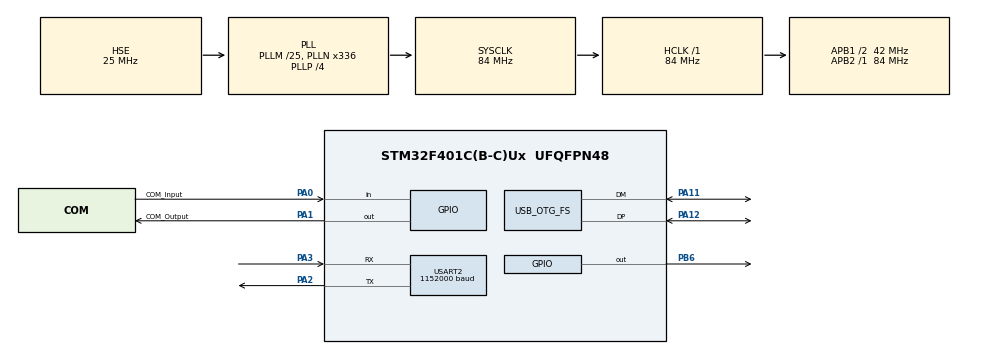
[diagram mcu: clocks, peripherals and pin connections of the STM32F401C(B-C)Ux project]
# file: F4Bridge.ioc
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FATFS._FS_RPATH=2
FATFS._USE_LFN=3
FATFS._USE_MUTEX=1
FATFS._USE_STRFUNC=0
FATFS._VOLUMES=2
FREERTOS.Tasks01=defaultTask,0,256,StartDefaultTask,As weak,NULL,Dynamic,NULL,NULL
FREERTOS.configCHECK_FOR_STACK_OVERFLOW=2
FREERTOS.configMINIMAL_STACK_SIZE=256
FREERTOS.configTOTAL_HEAP_SIZE=32720
FREERTOS.configUSE_MALLOC_FAILED_HOOK=1
Mcu.Family=STM32F4
Mcu.Name=STM32F401C(B-C)Ux
Mcu.Package=UFQFPN48
NVIC.OTG_FS_IRQn=true\:5\:0\:false\:false\:true\:true\:true\:true
NVIC.PriorityGroup=NVIC_PRIORITYGROUP_4
NVIC.TIM1_UP_TIM10_IRQn=true\:0\:0\:false\:false\:true\:false\:false\:true
NVIC.TimeBase=TIM1_UP_TIM10_IRQn
NVIC.TimeBaseIP=TIM1
NVIC.USART2_IRQn=true\:0\:0\:true\:false\:true\:false\:true\:true
PA0-WKUP.GPIO_Label=COM_Input
PA0-WKUP.GPIO_PuPd=GPIO_PULLDOWN
PA0-WKUP.Signal=GPIO_Input
PA1.GPIO_Label=COM_Output
PA1.GPIO_PuPd=GPIO_PULLDOWN
PA1.Signal=GPIO_Output
PA11.Mode=Host_Only
PA11.Signal=USB_OTG_FS_DM
PA12.Mode=Host_Only
PA12.Signal=USB_OTG_FS_DP
PA13.Mode=Trace_Asynchronous_SW
PA13.Signal=SYS_JTMS-SWDIO
PA14.Mode=Trace_Asynchronous_SW
PA14.Signal=SYS_JTCK-SWCLK
PA2.Mode=Asynchronous
PA2.Signal=USART2_TX
PA3.Mode=Asynchronous
PA3.Signal=USART2_RX
PB3.Mode=Trace_Asynchronous_SW
PB3.Signal=SYS_JTDO-SWO
PB6.Signal=GPIO_Output
PH0\ -\ OSC_IN.Mode=HSE-External-Oscillator
PH0\ -\ OSC_IN.Signal=RCC_OSC_IN
PH1\ -\ OSC_OUT.Mode=HSE-External-Oscillator
PH1\ -\ OSC_OUT.Signal=RCC_OSC_OUT
ProjectManager.HeapSize=0xD00
ProjectManager.StackSize=0x400
ProjectManager.TargetToolchain=MDK-ARM V5.27
RCC.48MHZClocksFreq_Value=48000000
RCC.AHBFreq_Value=84000000
RCC.APB1CLKDivider=RCC_HCLK_DIV2
RCC.APB1Freq_Value=42000000
RCC.APB1TimFreq_Value=84000000
RCC.APB2Freq_Value=84000000
RCC.APB2TimFreq_Value=84000000
RCC.CortexFreq_Value=84000000
RCC.HCLKFreq_Value=84000000
RCC.HSE_VALUE=25000000
RCC.HSI_VALUE=16000000
RCC.LSE_VALUE=32768
RCC.PLLM=25
RCC.PLLN=336
RCC.PLLP=RCC_PLLP_DIV4
RCC.PLLQ=7
RCC.SYSCLKFreq_VALUE=84000000
RCC.SYSCLKSource=RCC_SYSCLKSOURCE_PLLCLK
RCC.VCOOutputFreq_Value=336000000
USART2.BaudRate=1152000
USART2.VirtualMode=VM_ASYNC
USB_HOST.BSP.number=1
USB_HOST.USBH_DEBUG_LEVEL=3
USB_HOST.USBH_HandleTypeDef=hUsbHostFS
USB_HOST.USBH_KEEP_CFG_DESCRIPTOR=0
USB_HOST.USBH_PROCESS_STACK_SIZE=1024
USB_HOST.USBH_USE_OS-MSC_FS=0
USB_HOST.VirtualModeFS=Msc
USB_HOST0.BSP.STBoard=false
USB_HOST0.BSP.api=Unknown
USB_HOST0.BSP.i2caddr=0
USB_HOST0.BSP.instance=PB6
USB_HOST0.BSP.ip=GPIO
USB_HOST0.BSP.mode=Output
USB_HOST0.BSP.name=Drive_VBUS_FS
USB_HOST0.BSP.solution=PB6
USB_OTG_FS.Sof_enable=ENABLE
USB_OTG_FS.VirtualMode=Host_Only
USB_OTG_FS.phy_itface=HCD_PHY_EMBEDDED
VP_FATFS_VS_USB.Mode=USB
VP_FREERTOS_VS_CMSIS_V1.Mode=CMSIS_V1
VP_SYS_VS_tim1.Mode=TIM1
VP_USB_HOST_VS_USB_HOST_MSC_FS.Mode=MSC_FS
board=custom

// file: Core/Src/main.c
/* USER CODE BEGIN Header */
/**
  ******************************************************************************
  * @file           : main.c
  * @brief          : Main program body
  ******************************************************************************
  * @attention
  *
  * <h2><center>&copy; Copyright (c) 2021 STMicroelectronics.
  * All rights reserved.</center></h2>
  *
  * This software component is licensed by ST under Ultimate Liberty license
  * SLA0044, the "License"; You may not use this file except in compliance with
  * the License. You may obtain a copy of the License at:
  *                             www.st.com/SLA0044
  *
  ******************************************************************************
  */
/* USER CODE END Header */
#include "main.h"
#include "cmsis_os.h"
#include "fatfs.h"
#include "usart.h"
#include "usb_host.h"
#include "gpio.h"

/* USER CODE BEGIN Includes */
#include "Board.h"
/* USER CODE END Includes */

void SystemClock_Config(void);
void MX_FREERTOS_Init(void);

int main(void)
{

  /* MCU Configuration--------------------------------------------------------*/

  /* Reset of all peripherals, Initializes the Flash interface and the Systick. */
  HAL_Init();

  /* Configure the system clock */
  SystemClock_Config();

  /* USER CODE BEGIN SysInit */
	///!!!!!!!!!!!!!!!!!!!!!
	///!!!!!!!!!!!!!!!!!!!!!
	///!!!!!!!!!!!!!!!!!!!!!
	///!!!!!!!!!!!!!!!!!!!!!
	//пе забыть добавить RCC_OscInitStruct.PLL.PLLR = RCC_PLLP_DIV2;
	//Прерывание от USART установить HAL_NVIC_SetPriority(USART6_IRQn, 0, 0);
	///!!!!!!!!!!!!!!!!!!!!!
	///!!!!!!!!!!!!!!!!!!!!!
	///!!!!!!!!!!!!!!!!!!!!!
	///!!!!!!!!!!!!!!!!!!!!!
  /* USER CODE END SysInit */

  /* Initialize all configured peripherals */
  MX_GPIO_Init();
  MX_USART2_UART_Init();
  MX_FATFS_Init();
  /* USER CODE BEGIN 2 */
	printf("Start\n");
  if(retUSBH != 0)
  {
		Error_Handler();
	}
		Board_Init();
  /* USER CODE END 2 */

  /* Call init function for freertos objects (in freertos.c) */
  MX_FREERTOS_Init();
  /* Start scheduler */
  osKernelStart();

  /* We should never get here as control is now taken by the scheduler */
  /* Infinite loop */
  while (1)
  {

  }
}

void SystemClock_Config(void)
{
  RCC_OscInitTypeDef RCC_OscInitStruct = {0};
  RCC_ClkInitTypeDef RCC_ClkInitStruct = {0};

  /** Configure the main internal regulator output voltage
  */
  __HAL_RCC_PWR_CLK_ENABLE();
  __HAL_PWR_VOLTAGESCALING_CONFIG(PWR_REGULATOR_VOLTAGE_SCALE2);
  /** Initializes the RCC Oscillators according to the specified parameters
  * in the RCC_OscInitTypeDef structure.
  */
  RCC_OscInitStruct.OscillatorType = RCC_OSCILLATORTYPE_HSE;
  RCC_OscInitStruct.HSEState = RCC_HSE_ON;
  RCC_OscInitStruct.PLL.PLLState = RCC_PLL_ON;
  RCC_OscInitStruct.PLL.PLLSource = RCC_PLLSOURCE_HSE;
  RCC_OscInitStruct.PLL.PLLM = 25;
  RCC_OscInitStruct.PLL.PLLN = 336;
  RCC_OscInitStruct.PLL.PLLP = RCC_PLLP_DIV4;
  RCC_OscInitStruct.PLL.PLLQ = 7;
  if (HAL_RCC_OscConfig(&RCC_OscInitStruct) != HAL_OK)
  {
    Error_Handler();
  }
  /** Initializes the CPU, AHB and APB buses clocks
  */
  RCC_ClkInitStruct.ClockType = RCC_CLOCKTYPE_HCLK|RCC_CLOCKTYPE_SYSCLK
                              |RCC_CLOCKTYPE_PCLK1|RCC_CLOCKTYPE_PCLK2;
  RCC_ClkInitStruct.SYSCLKSource = RCC_SYSCLKSOURCE_PLLCLK;
  RCC_ClkInitStruct.AHBCLKDivider = RCC_SYSCLK_DIV1;
  RCC_ClkInitStruct.APB1CLKDivider = RCC_HCLK_DIV2;
  RCC_ClkInitStruct.APB2CLKDivider = RCC_HCLK_DIV1;

  if (HAL_RCC_ClockConfig(&RCC_ClkInitStruct, FLASH_LATENCY_2) != HAL_OK)
  {
    Error_Handler();
  }
}

 /**
  * @brief  Period elapsed callback in non blocking mode
  * @note   This function is called  when TIM1 interrupt took place, inside
  * HAL_TIM_IRQHandler(). It makes a direct call to HAL_IncTick() to increment
  * a global variable "uwTick" used as application time base.
  * @param  htim : TIM handle
  * @retval None
  */
void HAL_TIM_PeriodElapsedCallback(TIM_HandleTypeDef *htim)
{
  if (htim->Instance == TIM1) {
    HAL_IncTick();
  }
}

void Error_Handler(void)
{
  /* USER CODE BEGIN Error_Handler_Debug */
  /* User can add his own implementation to report the HAL error return state */
  //__disable_irq();
	for(;;)
	{
		printf("Error_Handler\n");
		HAL_Delay(1000);
	}
  /* USER CODE END Error_Handler_Debug */
}

#ifdef  USE_FULL_ASSERT
/**
  * @brief  Reports the name of the source file and the source line number
  *         where the assert_param error has occurred.
  * @param  file: pointer to the source file name
  * @param  line: assert_param error line source number
  * @retval None
  */
void assert_failed(uint8_t *file, uint32_t line)
{
  /* USER CODE BEGIN 6 */
  /* User can add his own implementation to report the file name and line number,
     ex: printf("Wrong parameters value: file %s on line %d\r\n", file, line) */
	for(;;)
	{
		printf("Wrong parameters value: file %s on line %d\r\n", file, line);
		HAL_Delay(1000);
	}
  /* USER CODE END 6 */
}
#endif /* USE_FULL_ASSERT */

/************************ (C) COPYRIGHT STMicroelectronics *****END OF FILE****/

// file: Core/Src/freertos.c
/* USER CODE BEGIN Header */
/**
  ******************************************************************************
  * File Name          : freertos.c
  * Description        : Code for freertos applications
  ******************************************************************************
  * @attention
  *
  * <h2><center>&copy; Copyright (c) 2021 STMicroelectronics.
  * All rights reserved.</center></h2>
  *
  * This software component is licensed by ST under Ultimate Liberty license
  * SLA0044, the "License"; You may not use this file except in compliance with
  * the License. You may obtain a copy of the License at:
  *                             www.st.com/SLA0044
  *
  ******************************************************************************
  */
/* USER CODE END Header */

#include "FreeRTOS.h"
#include "task.h"
#include "main.h"
#include "cmsis_os.h"

/* USER CODE BEGIN Includes */
#include "usb_host.h"
#include "fatfs.h"
/* USER CODE END Includes */

osThreadId defaultTaskHandle;

void StartDefaultTask(void const * argument);

extern void MX_USB_HOST_Init(void);
void MX_FREERTOS_Init(void); /* (MISRA C 2004 rule 8.1) */

/* GetIdleTaskMemory prototype (linked to static allocation support) */
void vApplicationGetIdleTaskMemory( StaticTask_t **ppxIdleTaskTCBBuffer, StackType_t **ppxIdleTaskStackBuffer, uint32_t *pulIdleTaskStackSize );

/* Hook prototypes */
void vApplicationStackOverflowHook(xTaskHandle xTask, signed char *pcTaskName);
void vApplicationMallocFailedHook(void);

/* USER CODE BEGIN 4 */
__weak void vApplicationStackOverflowHook(xTaskHandle xTask, signed char *pcTaskName)
{
   /* Run time stack overflow checking is performed if
   configCHECK_FOR_STACK_OVERFLOW is defined to 1 or 2. This hook function is
   called if a stack overflow is detected. */
		printf("FreeRTOS Error!!! ApplicationStackOverflowHook");
	Error_Handler();
}
/* USER CODE END 4 */

/* USER CODE BEGIN 5 */
__weak void vApplicationMallocFailedHook(void)
{
   /* vApplicationMallocFailedHook() will only be called if
   configUSE_MALLOC_FAILED_HOOK is set to 1 in FreeRTOSConfig.h. It is a hook
   function that will get called if a call to pvPortMalloc() fails.
   pvPortMalloc() is called internally by the kernel whenever a task, queue,
   timer or semaphore is created. It is also called by various parts of the
   demo application. If heap_1.c or heap_2.c are used, then the size of the
   heap available to pvPortMalloc() is defined by configTOTAL_HEAP_SIZE in
   FreeRTOSConfig.h, and the xPortGetFreeHeapSize() API function can be used
   to query the size of free heap space that remains (although it does not
   provide information on how the remaining heap might be fragmented). */
		printf("FreeRTOS Error!!! vApplicationMallocFailedHook");
	Error_Handler();
}
/* USER CODE END 5 */

/* USER CODE BEGIN GET_IDLE_TASK_MEMORY */
static StaticTask_t xIdleTaskTCBBuffer;
static StackType_t xIdleStack[configMINIMAL_STACK_SIZE];

void vApplicationGetIdleTaskMemory( StaticTask_t **ppxIdleTaskTCBBuffer, StackType_t **ppxIdleTaskStackBuffer, uint32_t *pulIdleTaskStackSize )
{
  *ppxIdleTaskTCBBuffer = &xIdleTaskTCBBuffer;
  *ppxIdleTaskStackBuffer = &xIdleStack[0];
  *pulIdleTaskStackSize = configMINIMAL_STACK_SIZE;
  /* place for user code */
}
/* USER CODE END GET_IDLE_TASK_MEMORY */

void MX_FREERTOS_Init(void) {

  /* Create the thread(s) */
  /* definition and creation of defaultTask */
  //osThreadDef(defaultTask, StartDefaultTask, osPriorityNormal, 0, 256);
  //defaultTaskHandle = osThreadCreate(osThread(defaultTask), NULL);

}

__weak void StartDefaultTask(void const * argument)
{
  /* init code for USB_HOST */
  MX_USB_HOST_Init();
  /* USER CODE BEGIN StartDefaultTask */
  /* Infinite loop */
  for(;;)
  {
    osDelay(1000);
  }
  /* USER CODE END StartDefaultTask */
}

/************************ (C) COPYRIGHT STMicroelectronics *****END OF FILE****/
